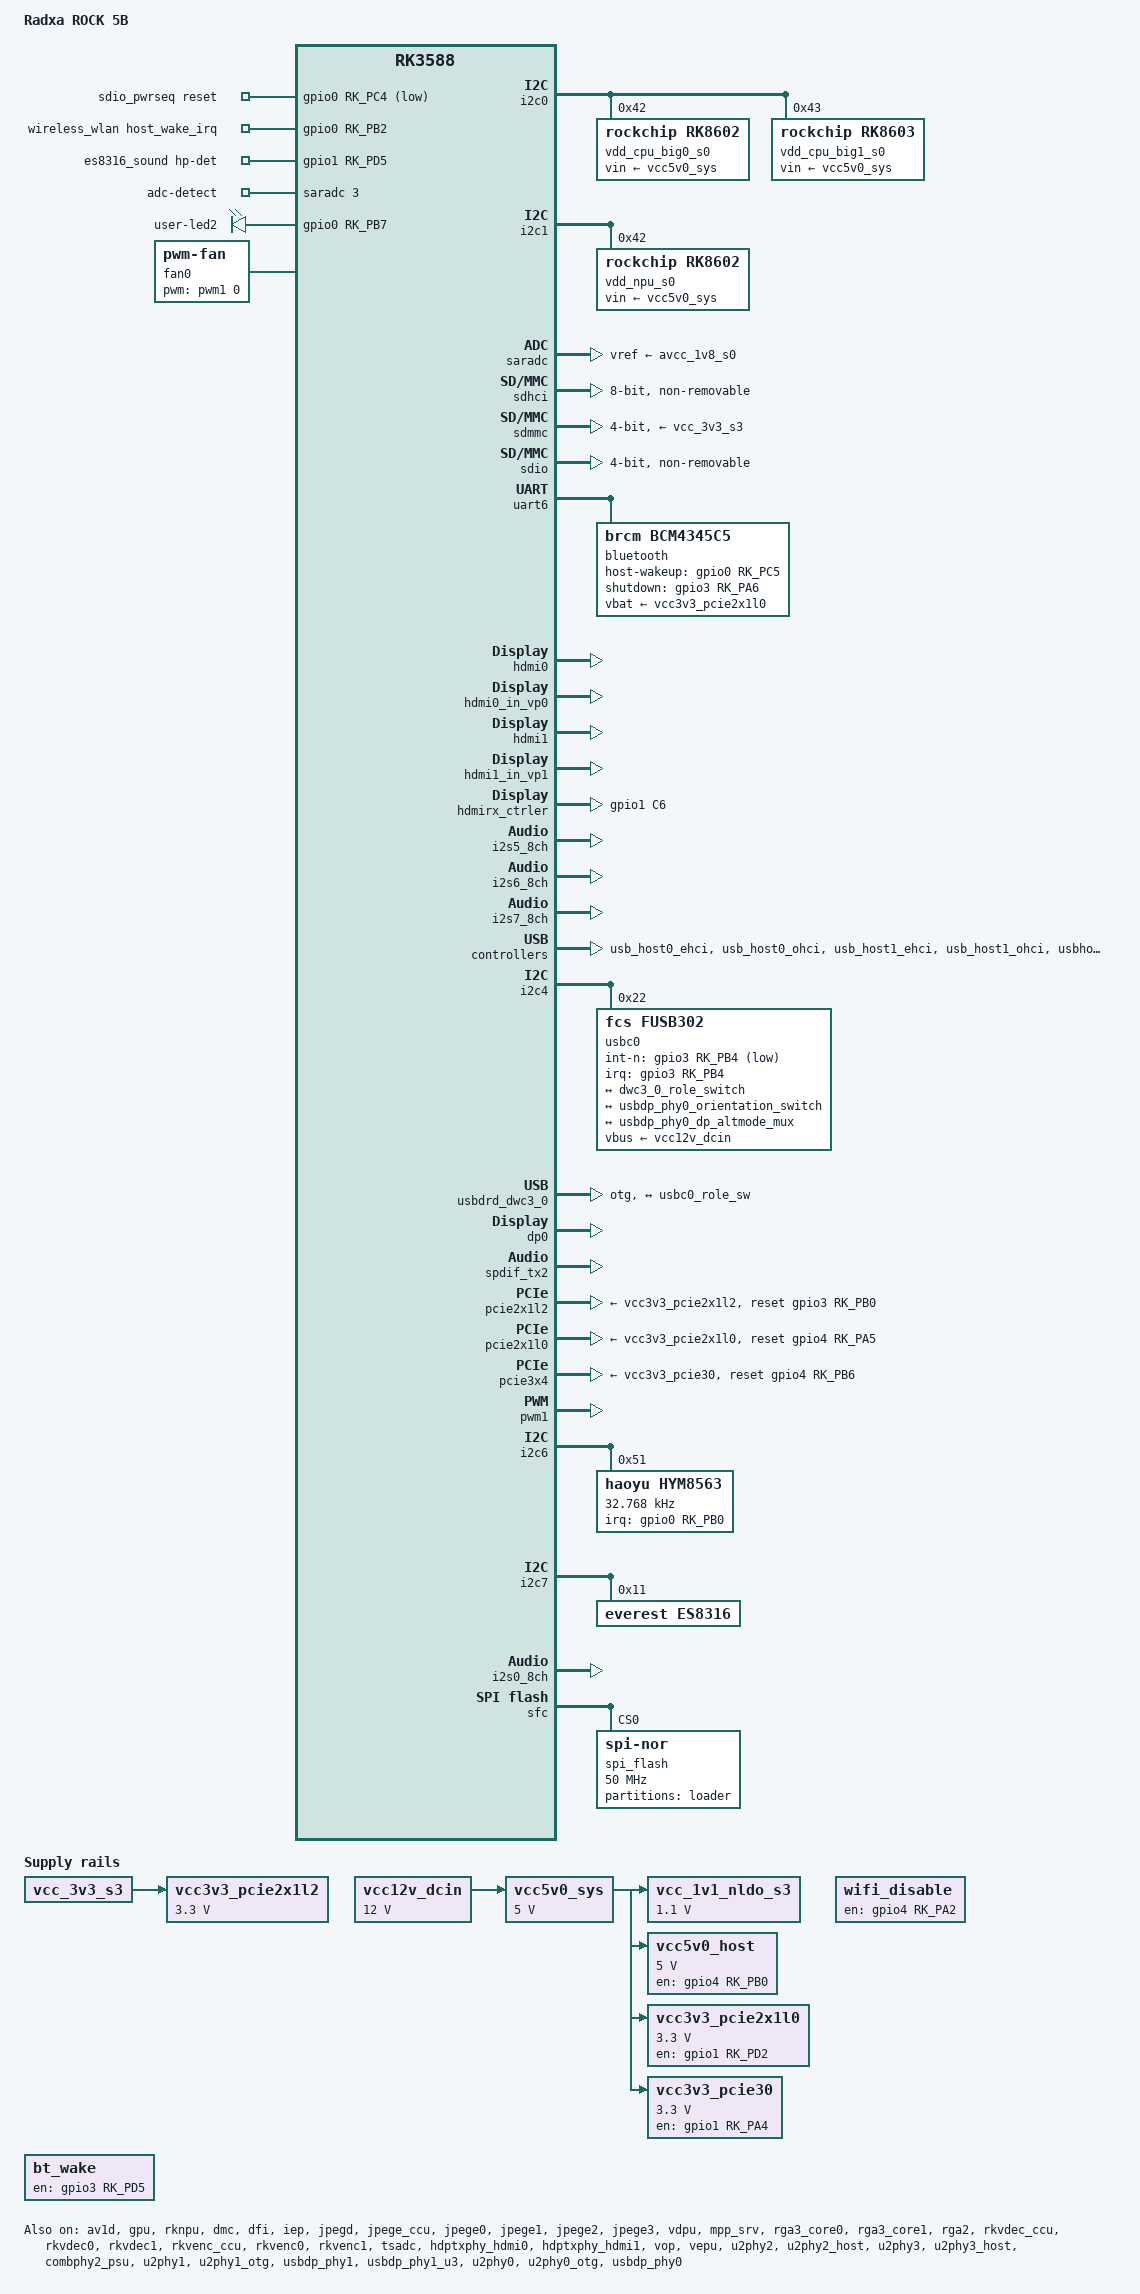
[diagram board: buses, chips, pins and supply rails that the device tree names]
// SPDX-License-Identifier: (GPL-2.0+ OR MIT)
/*
 * Copyright (c) 2022 Rockchip Electronics Co., Ltd.
 * Copyright (c) 2022 Radxa Limited
 *
 */

/dts-v1/;

#include <dt-bindings/gpio/gpio.h>
#include <dt-bindings/leds/common.h>
#include <dt-bindings/pwm/pwm.h>
#include <dt-bindings/pinctrl/rockchip.h>
#include <dt-bindings/input/rk-input.h>
#include <dt-bindings/display/drm_mipi_dsi.h>
#include <dt-bindings/display/rockchip_vop.h>
#include <dt-bindings/sensor-dev.h>
#include "dt-bindings/usb/pd.h"
#include "rk3588.dtsi"
#include "rk3588-rk806-single.dtsi"
#include "rk3588-linux.dtsi"

/ {
	model = "Radxa ROCK 5B";
	compatible = "radxa,rock-5b", "rockchip,rk3588";

	/delete-node/ chosen;

	vcc12v_dcin: vcc12v-dcin {
		compatible = "regulator-fixed";
		regulator-name = "vcc12v_dcin";
		regulator-always-on;
		regulator-boot-on;
		regulator-min-microvolt = <12000000>;
		regulator-max-microvolt = <12000000>;
	};

	vcc5v0_sys: vcc5v0-sys {
		compatible = "regulator-fixed";
		regulator-name = "vcc5v0_sys";
		regulator-always-on;
		regulator-boot-on;
		regulator-min-microvolt = <5000000>;
		regulator-max-microvolt = <5000000>;
		vin-supply = <&vcc12v_dcin>;
	};

	wifi_disable: wifi-diable-gpio-regulator {
		compatible = "regulator-fixed";
		regulator-name = "wifi_disable";
		enable-active-high;
		gpio = <&gpio4 RK_PA2 GPIO_ACTIVE_HIGH>;
		regulator-boot-on;
		regulator-always-on;
	};

	bt_wake: bt-wake-gpio-regulator {
		compatible = "regulator-fixed";
		regulator-name = "bt_wake";
		enable-active-high;
		gpio = <&gpio3 RK_PD5 GPIO_ACTIVE_HIGH>;
		regulator-boot-on;
		regulator-always-on;
	};

	sdio_pwrseq: sdio-pwrseq {
		compatible = "mmc-pwrseq-simple";
		clocks = <&hym8563>;
		clock-names = "ext_clock";
		pinctrl-names = "default";
		pinctrl-0 = <&wifi_enable_h>;
		reset-gpios = <&gpio0 RK_PC4 GPIO_ACTIVE_LOW>;
	};

	wireless_wlan: wireless-wlan {
		compatible = "wlan-platdata";
		wifi_chip_type = "ap6256";
		pinctrl-names = "default";
		pinctrl-0 = <&wifi_host_wake_irq>;
		WIFI,host_wake_irq = <&gpio0 RK_PB2 GPIO_ACTIVE_HIGH>;
		status = "okay";
	};

	vcc_1v1_nldo_s3: vcc-1v1-nldo-s3 {
		compatible = "regulator-fixed";
		regulator-name = "vcc_1v1_nldo_s3";
		regulator-always-on;
		regulator-boot-on;
		regulator-min-microvolt = <1100000>;
		regulator-max-microvolt = <1100000>;
		vin-supply = <&vcc5v0_sys>;
	};

	hdmi0_sound: hdmi0-sound {
		status = "okay";
		compatible = "rockchip,hdmi";
		rockchip,mclk-fs = <128>;
		rockchip,card-name = "rockchip-hdmi0";
		rockchip,cpu = <&i2s5_8ch>;
		rockchip,codec = <&hdmi0>;
		rockchip,jack-det;
	};

	hdmi1_sound: hdmi1-sound {
		status = "okay";
		compatible = "rockchip,hdmi";
		rockchip,mclk-fs = <128>;
		rockchip,card-name = "rockchip-hdmi1";
		rockchip,cpu = <&i2s6_8ch>;
		rockchip,codec = <&hdmi1>;
		rockchip,jack-det;
	};

	dp0_sound: dp0-sound {
		status = "okay";
		compatible = "rockchip,hdmi";
		rockchip,card-name= "rockchip,dp0";
		rockchip,mclk-fs = <512>;
		rockchip,cpu = <&spdif_tx2>;
		rockchip,codec = <&dp0 1>;
		rockchip,jack-det;
	};

	es8316_sound: es8316-sound {
		status = "okay";
		compatible = "rockchip,multicodecs-card";
		rockchip,card-name = "rockchip-es8316";
		rockchip,format = "i2s";
		rockchip,mclk-fs = <256>;
		rockchip,cpu = <&i2s0_8ch >;
		rockchip,codec = <&es8316>;
		poll-interval = <100>;
		io-channels = <&saradc 3>;
		io-channel-names = "adc-detect";
		keyup-threshold-microvolt = <1800000>;
		pinctrl-0 = <&hp_det>;
		pinctrl-names = "default";
		hp-det-gpio = <&gpio1 RK_PD5 GPIO_ACTIVE_HIGH>;
		play-pause-key {
			label = "playpause";
			linux,code = <164>;
			press-threshold-microvolt = <2000>;
		};
	};

	vcc5v0_host: vcc5v0-host-regulator {
		compatible = "regulator-fixed";
		regulator-name = "vcc5v0_host";
		regulator-boot-on;
		regulator-always-on;
		regulator-min-microvolt = <5000000>;
		regulator-max-microvolt = <5000000>;
		enable-active-high;
		gpio = <&gpio4 RK_PB0 GPIO_ACTIVE_HIGH>;
		pinctrl-names = "default";
		pinctrl-0 = <&vcc5v0_host_en>;
		vin-supply = <&vcc5v0_sys>;
	};

	vcc3v3_pcie2x1l2: vcc3v3-pcie2x1l2 {
		compatible = "regulator-fixed";
		regulator-name = "vcc3v3_pcie2x1l2";
		regulator-min-microvolt = <3300000>;
		regulator-max-microvolt = <3300000>;
		startup-delay-us = <5000>;
		vin-supply = <&vcc_3v3_s3>;
	};

	vcc3v3_pcie2x1l0: vcc3v3-pcie2x1l0 {
		compatible = "regulator-fixed";
		regulator-name = "vcc3v3_pcie2x1l0";
		regulator-min-microvolt = <3300000>;
		regulator-max-microvolt = <3300000>;
		enable-active-high;
		regulator-boot-on;
		regulator-always-on;
		gpios = <&gpio1 RK_PD2 GPIO_ACTIVE_HIGH>;
		startup-delay-us = <50000>;
		vin-supply = <&vcc5v0_sys>;
	};

	vcc3v3_pcie30: vcc3v3-pcie30 {
		compatible = "regulator-fixed";
		regulator-name = "vcc3v3_pcie30";
		regulator-min-microvolt = <3300000>;
		regulator-max-microvolt = <3300000>;
		enable-active-high;
		gpios = <&gpio1 RK_PA4 GPIO_ACTIVE_HIGH>;
		startup-delay-us = <5000>;
		vin-supply = <&vcc5v0_sys>;
	};

	gpio-leds {
		compatible = "gpio-leds";
		pinctrl-names = "default";

		user-led2 {
			gpios = <&gpio0 RK_PB7 GPIO_ACTIVE_HIGH>;
			linux,default-trigger = "heartbeat";
			default-state = "on";
		};
	};

	/* If hdmirx node is disabled, delete the reserved-memory node here. */
	reserved-memory {
		#address-cells = <2>;
		#size-cells = <2>;
		ranges;

		/* Reserve 256MB memory for hdmirx-controller@fdee0000 */
		cma {
			compatible = "shared-dma-pool";
			reusable;
			reg = <0x0 (256 * 0x100000) 0x0 (256 * 0x100000)>;
			linux,cma-default;
		};
	};

	hdmiin_dc: hdmiin-dc {
		compatible = "rockchip,dummy-codec";
		#sound-dai-cells = <0>;
	};

	hdmiin-sound {
		compatible = "simple-audio-card";
		simple-audio-card,format = "i2s";
		simple-audio-card,name = "rockchip,hdmiin";
		simple-audio-card,bitclock-master = <&dailink0_master>;
		simple-audio-card,frame-master = <&dailink0_master>;
		status = "okay";
		simple-audio-card,cpu {
			sound-dai = <&i2s7_8ch>;
		};
		dailink0_master: simple-audio-card,codec {
			sound-dai = <&hdmiin_dc>;
		};
	};

	fan0: pwm-fan {
		compatible = "pwm-fan";
		#cooling-cells = <2>;
		cooling-levels = <72 94 117 139 162 184 207 229 255>;
		pwms = <&pwm1 0 10000 0>;
	};
};

&av1d {
	status = "okay";
};

&av1d_mmu {
	status = "okay";
};

&cpu_l0 {
	cpu-supply = <&vdd_cpu_lit_s0>;
	mem-supply = <&vdd_cpu_lit_mem_s0>;
};

&cpu_b0 {
	cpu-supply = <&vdd_cpu_big0_s0>;
	mem-supply = <&vdd_cpu_big0_mem_s0>;
};

&cpu_b2 {
	cpu-supply = <&vdd_cpu_big1_s0>;
	mem-supply = <&vdd_cpu_big1_mem_s0>;
};

&gpu {
	mali-supply = <&vdd_gpu_s0>;
	mem-supply = <&vdd_gpu_mem_s0>;
	status = "okay";
};

&rknpu {
	rknpu-supply = <&vdd_npu_s0>;
	mem-supply = <&vdd_npu_mem_s0>;
	status = "okay";
};

&rknpu_mmu {
	status = "okay";
};

&i2c0 {
	status = "okay";
	pinctrl-names = "default";
	pinctrl-0 = <&i2c0m2_xfer>;

	vdd_cpu_big0_s0: vdd_cpu_big0_mem_s0: rk8602@42 {
		compatible = "rockchip,rk8602";
		reg = <0x42>;
		vin-supply = <&vcc5v0_sys>;
		regulator-compatible = "rk860x-reg";
		regulator-name = "vdd_cpu_big0_s0";
		regulator-min-microvolt = <550000>;
		regulator-max-microvolt = <1050000>;
		regulator-ramp-delay = <2300>;
		rockchip,suspend-voltage-selector = <1>;
		regulator-boot-on;
		regulator-always-on;
		regulator-state-mem {
			regulator-off-in-suspend;
		};
	};

	vdd_cpu_big1_s0: vdd_cpu_big1_mem_s0: rk8603@43 {
		compatible = "rockchip,rk8603";
		reg = <0x43>;
		vin-supply = <&vcc5v0_sys>;
		regulator-compatible = "rk860x-reg";
		regulator-name = "vdd_cpu_big1_s0";
		regulator-min-microvolt = <550000>;
		regulator-max-microvolt = <1050000>;
		regulator-ramp-delay = <2300>;
		rockchip,suspend-voltage-selector = <1>;
		regulator-boot-on;
		regulator-always-on;
		regulator-state-mem {
			regulator-off-in-suspend;
		};
	};
};

&dmc {
	center-supply = <&vdd_ddr_s0>;
	mem-supply = <&vdd_log_s0>;
	status = "okay";
};

&dfi {
	status = "okay";
};

&i2c1 {
	status = "okay";
	pinctrl-names = "default";
	pinctrl-0 = <&i2c1m2_xfer>;

	vdd_npu_s0: vdd_npu_mem_s0: rk8602@42 {
		compatible = "rockchip,rk8602";
		reg = <0x42>;
		vin-supply = <&vcc5v0_sys>;
		regulator-compatible = "rk860x-reg";
		regulator-name = "vdd_npu_s0";
		regulator-min-microvolt = <550000>;
		regulator-max-microvolt = <950000>;
		regulator-ramp-delay = <2300>;
		rockchip,suspend-voltage-selector = <1>;
		regulator-boot-on;
		regulator-always-on;
		regulator-state-mem {
			regulator-off-in-suspend;
		};
	};
};

&iep {
	status = "okay";
};

&iep_mmu {
	status = "okay";
};

&jpegd {
	status = "okay";
};

&jpegd_mmu {
	status = "okay";
};

&jpege_ccu {
	status = "okay";
};

&jpege0 {
	status = "okay";
};

&jpege0_mmu {
	status = "okay";
};

&jpege1 {
	status = "okay";
};

&jpege1_mmu {
	status = "okay";
};

&jpege2 {
	status = "okay";
};

&jpege2_mmu {
	status = "okay";
};

&jpege3 {
	status = "okay";
};

&jpege3_mmu {
	status = "okay";
};

&vdpu {
	status = "okay";
};

&vdpu_mmu {
	status = "okay";
};

&mpp_srv {
	status = "okay";
};

&rga3_core0 {
	status = "okay";
};

&rga3_0_mmu {
	status = "okay";
};

&rga3_core1 {
	status = "okay";
};

&rga3_1_mmu {
	status = "okay";
};

&rga2 {
	status = "okay";
};

&rkvdec_ccu {
	status = "okay";
};

&rkvdec0 {
	status = "okay";
};

&rkvdec0_mmu {
	status = "okay";
};

&rkvdec1 {
	status = "okay";
};

&rkvdec1_mmu {
	status = "okay";
};

&rkvenc_ccu {
	status = "okay";
};

&rkvenc0 {
	status = "okay";
};

&rkvenc0_mmu {
	status = "okay";
};

&rkvenc1 {
	status = "okay";
};

&rkvenc1_mmu {
	status = "okay";
};

&saradc {
	status = "okay";
	vref-supply = <&avcc_1v8_s0>;
};

&sdhci {
	bus-width = <8>;
	no-sdio;
	no-sd;
	non-removable;
	max-frequency = <200000000>;
	mmc-hs400-1_8v;
	//mmc-hs400-enhanced-strobe;
	status = "okay";
};

&sdmmc {
	max-frequency = <200000000>;
	no-sdio;
	no-mmc;
	bus-width = <4>;
	cap-mmc-highspeed;
	cap-sd-highspeed;
	disable-wp;
	sd-uhs-sdr104;
	vmmc-supply = <&vcc_3v3_s3>;
	vqmmc-supply = <&vccio_sd_s0>;
	pinctrl-names = "default";
	pinctrl-0 = <&sdmmc_bus4 &sdmmc_clk &sdmmc_cmd &sdmmc_det>;
	status = "okay";
};

&sdio {
	max-frequency = <150000000>;
	supports-sdio;
	bus-width = <4>;
	disable-wp;
	cap-sd-highspeed;
	cap-sdio-irq;
	keep-power-in-suspend;
	mmc-pwrseq = <&sdio_pwrseq>;
	non-removable;
	num-slots = <1>;
	pinctrl-names = "default";
	pinctrl-0 = <&sdiom0_pins>;
	sd-uhs-sdr104;
	status = "okay";
};

&soc_thermal {
	polling-delay = <1000>;
	polling-delay-passive = <2000>;
	trips {
		trip0: trip-point@0 {
			temperature = <45000>;
			hysteresis = <5000>;
			type = "active";
		};
		trip1: trip-point@1 {
			temperature = <50000>;
			hysteresis = <5000>;
			type = "active";
		};
		trip2: trip-point@2 {
			temperature = <55000>;
			hysteresis = <5000>;
			type = "active";
		};
		trip3: trip-point@3 {
			temperature = <60000>;
			hysteresis = <5000>;
			type = "active";
		};
		trip4: trip-point@4 {
			temperature = <65000>;
			hysteresis = <5000>;
			type = "active";
		};
		trip5: trip-point@5 {
			temperature = <70000>;
			hysteresis = <5000>;
			type = "active";
		};
		trip6: trip-point@6 {
			temperature = <75000>;
			hysteresis = <5000>;
			type = "active";
		};
		pcritical: trip-point@7 {
			temperature = <80000>;
			hysteresis = <1000>;
			type = "active";
		};
	};
	cooling-maps {
		map0 {
			trip = <&trip0>;
			cooling-device = <&fan0 0 1>;
			contribution = <1024>;
		};
		map1 {
			trip = <&trip1>;
			cooling-device = <&fan0 1 2>;
			contribution = <1024>;
		};
		map2 {
			trip = <&trip2>;
			cooling-device = <&fan0 2 3>;
			contribution = <1024>;
		};
		map3 {
			trip = <&trip3>;
			cooling-device = <&fan0 3 4>;
			contribution = <1024>;
		};
		map4 {
			trip = <&trip4>;
			cooling-device = <&fan0 4 5>;
			contribution = <1024>;
		};
		map5 {
			trip = <&trip5>;
			cooling-device = <&fan0 5 6>;
			contribution = <1024>;
		};
		map6 {
			trip = <&trip6>;
			cooling-device = <&fan0 6 7>;
			contribution = <1024>;
		};
		map7 {
			trip = <&pcritical>;
			cooling-device = <&fan0 7 8>;
			contribution = <1024>;
		};
	};
};

&uart6 {
	pinctrl-names = "default";
	pinctrl-0 = <&uart6m1_xfer &uart6m1_ctsn &uart6m1_rtsn>;
	status = "okay";

	bluetooth {
		compatible = "brcm,bcm4345c5";
		clocks = <&hym8563>;
		clock-names = "ext_clock";
		host-wakeup-gpios = <&gpio0 RK_PC5 GPIO_ACTIVE_HIGH>;
		shutdown-gpios = <&gpio3 RK_PA6 GPIO_ACTIVE_HIGH>;
		max-speed = <1500000>;
		pinctrl-names = "default";
		pinctrl-0 = <&bt_host_wake_l &bt_wake_l &bt_enable_h>;
		vbat-supply = <&vcc3v3_pcie2x1l0>;
	};
};

&tsadc {
	status = "okay";
};

&display_subsystem {
	clocks = <&hdptxphy_hdmi_clk0>, <&hdptxphy_hdmi_clk1>;
	clock-names = "hdmi0_phy_pll", "hdmi1_phy_pll";

	route {
		route_hdmi0: route-hdmi0 {
			status = "okay";
			logo,uboot = "logo.bmp";
			logo,kernel = "logo_kernel.bmp";
			logo,mode = "center";
			charge_logo,mode = "center";
			connect = <&vp0_out_hdmi0>;
		};

		route_hdmi1: route-hdmi1 {
			status = "okay";
			logo,uboot = "logo.bmp";
			logo,kernel = "logo_kernel.bmp";
			logo,mode = "center";
			charge_logo,mode = "center";
			connect = <&vp1_out_hdmi1>;
		};
	};
};

&hdptxphy_hdmi_clk0 {
	status = "okay";
};

&hdptxphy_hdmi_clk1 {
	status = "okay";
};

&hdmi0 {
	status = "okay";
        cec-enable = "true";
};

&hdmi0_in_vp0 {
	status = "okay";
};

&hdmi0_in_vp1 {
	status = "disabled";
};

&hdmi0_in_vp2 {
	status = "disabled";
};

&hdmi0_sound {
	status = "okay";
};

&hdmi1 {
	status = "okay";
	pinctrl-names = "default";
	pinctrl-0 = <&hdmim0_tx1_cec &hdmim0_tx1_hpd &hdmim1_tx1_scl &hdmim1_tx1_sda>;
        cec-enable = "true";
};

&hdmi1_in_vp0 {
	status = "disabled";
};

&hdmi1_in_vp1 {
	status = "okay";
};

&hdmi1_in_vp2 {
	status = "disabled";
};

&hdmi1_sound {
	status = "okay";
};

/* Should work with at least 128MB cma reserved above. */
&hdmirx_ctrler {
	status = "okay";

	/* Effective level used to trigger HPD: 0-low, 1-high */
	hpd-trigger-level = <1>;
	hdmirx-det-gpios = <&gpio1 RK_PC6 GPIO_ACTIVE_LOW>;

	pinctrl-0 = <&hdmim1_rx_cec &hdmim1_rx_hpdin &hdmim1_rx_scl &hdmim1_rx_sda &hdmirx_det>;
	pinctrl-names = "default";
};

&hdptxphy_hdmi0 {
	status = "okay";
};

&hdptxphy_hdmi1 {
	status = "okay";
};

&i2s5_8ch {
	status = "okay";
};

&i2s6_8ch {
	status = "okay";
};

&i2s7_8ch {
	status = "okay";
};

&vop {
	status = "okay";
};

&vop_mmu {
	status = "okay";
};

&vepu {
	status = "okay";
};

/* vp0 & vp1 splice for 8K output */
&vp0 {
	rockchip,plane-mask = <(1 << ROCKCHIP_VOP2_CLUSTER0 | 1 << ROCKCHIP_VOP2_ESMART0)>;
	rockchip,primary-plane = <ROCKCHIP_VOP2_CLUSTER0>;
	cursor-win-id = <ROCKCHIP_VOP2_ESMART0>;
};

&vp1 {
	rockchip,plane-mask = <(1 << ROCKCHIP_VOP2_CLUSTER1 | 1 << ROCKCHIP_VOP2_ESMART1)>;
	rockchip,primary-plane = <ROCKCHIP_VOP2_CLUSTER1>;
	cursor-win-id = <ROCKCHIP_VOP2_ESMART1>;
};

&vp2 {
	rockchip,plane-mask = <(1 << ROCKCHIP_VOP2_CLUSTER2 | 1 << ROCKCHIP_VOP2_ESMART2)>;
	rockchip,primary-plane = <ROCKCHIP_VOP2_CLUSTER2>;
	cursor-win-id = <ROCKCHIP_VOP2_ESMART2>;
};

&vp3 {
	rockchip,plane-mask = <(1 << ROCKCHIP_VOP2_CLUSTER3 | 1 << ROCKCHIP_VOP2_ESMART3)>;
	rockchip,primary-plane = <ROCKCHIP_VOP2_CLUSTER3>;
	cursor-win-id = <ROCKCHIP_VOP2_ESMART3>;
};

&u2phy2 {
	status = "okay";
};

&u2phy2_host {
	status = "okay";
};

&u2phy3 {
	status = "okay";
};

&u2phy3_host {
	status = "okay";
};

&usb_host0_ehci {
	status = "okay";
};

&usb_host0_ohci {
	status = "okay";
};

&usb_host1_ehci {
	status = "okay";
};

&usb_host1_ohci {
	status = "okay";
};

&usbhost3_0 {
	status = "okay";
};

&usbhost_dwc3_0 {
	status = "okay";
};

&combphy2_psu {
	status = "okay";
};

&u2phy1 {
	status = "okay";
};

&u2phy1_otg {
	status = "okay";
};

&usbdrd3_1{
	status = "okay";
};

&usbdrd_dwc3_1{
	status = "okay";
};

&usbdp_phy1 {
	status = "okay";
};

&usbdp_phy1_u3 {
	status = "okay";
};

&i2c4 {
	status = "okay";
	pinctrl-names = "default";
	pinctrl-0 = <&i2c4m1_xfer>;

	usbc0: fusb302@22 {
		compatible = "fcs,fusb302";
		reg = <0x22>;
		interrupt-parent = <&gpio3>;
		interrupts = <RK_PB4 IRQ_TYPE_LEVEL_LOW>;
		int-n-gpios = <&gpio3 RK_PB4 GPIO_ACTIVE_LOW>;
		pinctrl-names = "default";
		pinctrl-0 = <&usbc0_int>;
		vbus-supply = <&vcc12v_dcin>;
		status = "okay";

		ports {
			#address-cells = <1>;
			#size-cells = <0>;

			port@0 {
				reg = <0>;
				usbc0_role_sw: endpoint@0 {
					remote-endpoint = <&dwc3_0_role_switch>;
				};
			};
		};

		usb_con: connector {
			compatible = "usb-c-connector";
			label = "USB-C";
			data-role = "dual";
			power-role = "sink";
			try-power-role = "sink";
			op-sink-microwatt = <1000000>;
			sink-pdos =
				<PDO_FIXED(5000, 3000, PDO_FIXED_USB_COMM)
				 PDO_VAR(5000, 20000, 5000)>;

			altmodes {
				#address-cells = <1>;
				#size-cells = <0>;

				altmode@0 {
					reg = <0>;
					svid = <0xff01>;
					vdo = <0xffffffff>;
				};
			};

			ports {
				#address-cells = <1>;
				#size-cells = <0>;

				port@0 {
					reg = <0>;
					usbc0_orien_sw: endpoint {
						remote-endpoint = <&usbdp_phy0_orientation_switch>;
					};
				};

				port@1 {
					reg = <1>;
					dp_altmode_mux: endpoint {
						remote-endpoint = <&usbdp_phy0_dp_altmode_mux>;
					};
				};
			};
		};
	};
};

&u2phy0 {
	status = "okay";
};

&u2phy0_otg {
	rockchip,typec-vbus-det;
	status = "okay";
};

&usbdrd3_0 {
	status = "okay";
};

&usbdrd_dwc3_0 {
	status = "okay";
	dr_mode = "otg";
	usb-role-switch;
	port {
		#address-cells = <1>;
		#size-cells = <0>;
		dwc3_0_role_switch: endpoint@0 {
			reg = <0>;
			remote-endpoint = <&usbc0_role_sw>;
		};
	};
};

&usbdp_phy0 {
	status = "okay";
	orientation-switch;
	svid = <0xff01>;
	sbu1-dc-gpios = <&gpio4 RK_PA6 GPIO_ACTIVE_HIGH>;
	sbu2-dc-gpios = <&gpio4 RK_PA7 GPIO_ACTIVE_HIGH>;

	port {
		#address-cells = <1>;
		#size-cells = <0>;
		usbdp_phy0_orientation_switch: endpoint@0 {
			reg = <0>;
			remote-endpoint = <&usbc0_orien_sw>;
		};

		usbdp_phy0_dp_altmode_mux: endpoint@1 {
			reg = <1>;
			remote-endpoint = <&dp_altmode_mux>;
		};
	};
};

&usbdp_phy0_u3 {
	status = "okay";
};

&usbdp_phy0_dp {
	status = "okay";
};

&dp0 {
	status = "okay";
};

&dp0_in_vp2 {
	status = "okay";
};

&route_dp0 {
	status = "okay";
	connect = <&vp2_out_dp0>;
};

&spdif_tx2 {
	status = "okay";
};

&combphy0_ps {
	status = "okay";
};

&pcie2x1l2 {
	reset-gpios = <&gpio3 RK_PB0 GPIO_ACTIVE_HIGH>;
	vpcie3v3-supply = <&vcc3v3_pcie2x1l2>;
	status = "okay";
};

&pcie2x1l0 {
	reset-gpios = <&gpio4 RK_PA5 GPIO_ACTIVE_HIGH>;
	vpcie3v3-supply = <&vcc3v3_pcie2x1l0>;
	status = "okay";
};

&combphy1_ps {
	status = "okay";
};

&pcie30phy {
	status = "okay";
};

&pcie3x4 {
	reset-gpios = <&gpio4 RK_PB6 GPIO_ACTIVE_HIGH>;
	vpcie3v3-supply = <&vcc3v3_pcie30>;
	status = "okay";
};

&pwm1 {
	pinctrl-names = "active";
	pinctrl-0 = <&pwm1m0_pins>;
	status = "okay";
};

&i2c6 {
	status = "okay";

	hym8563: hym8563@51 {
		compatible = "haoyu,hym8563";
		reg = <0x51>;
		#clock-cells = <0>;
		clock-frequency = <32768>;
		clock-output-names = "hym8563";
		pinctrl-names = "default";
		pinctrl-0 = <&rtc_int>;
		interrupt-parent = <&gpio0>;
		interrupts = <RK_PB0 IRQ_TYPE_LEVEL_LOW>;
	};
};

&i2c7 {
	status = "okay";

	es8316: es8316@11 {
		compatible = "everest,es8316";
		reg = <0x11>;
		clocks = <&mclkout_i2s0>;
		clock-names = "mclk";
		pinctrl-names = "default";
		pinctrl-0 = <&i2s0_mclk>;
		#sound-dai-cells = <0>;
	};
};

&i2s0_8ch {
	status = "okay";
	rockchip,playback-channels = <2>;
	rockchip,capture-channels = <2>;
	#sound-dai-cells = <0>;
	pinctrl-names = "default";
	pinctrl-0 = <&i2s0_lrck
			 &i2s0_sclk
			 &i2s0_sdi0
			 &i2s0_sdo0>;
};

&sfc {
	status = "okay";
	max-freq = <50000000>;
	#address-cells = <1>;
	#size-cells = <0>;
	pinctrl-names = "default";
	pinctrl-0 = <&fspim2_pins>;

	spi_flash: spi-flash@0 {
		#address-cells = <1>;
		#size-cells = <0>;
		compatible = "jedec,spi-nor";
		reg = <0x0>;
		spi-max-frequency = <50000000>;
		spi-tx-bus-width = <1>;
		spi-rx-bus-width = <4>;
		status = "okay";

		partitions {
			compatible = "fixed-partitions";
			#address-cells = <1>;
			#size-cells = <1>;

			loader@0 {
				label = "loader";
				reg = <0x0 0x1000000>;
			};
		};
	};
};

&rockchip_suspend {
	compatible = "rockchip,pm-rk3588";
	status = "okay";
	rockchip,sleep-debug-en = <1>;
	rockchip,sleep-mode-config = <
		(0
		| RKPM_SLP_ARMOFF_DDRPD
		)
	>;
	rockchip,wakeup-config = <
		(0
		| RKPM_GPIO_WKUP_EN
		| RKPM_USB_WKUP_EN
		)
	>;
};

&avdd_0v75_s0 {
	regulator-state-mem {
		regulator-on-in-suspend;
		regulator-suspend-microvolt = <837500>;
	};
};

&avcc_1v8_s0 {
	regulator-state-mem {
		regulator-on-in-suspend;
		regulator-suspend-microvolt = <1800000>;
	};
};

&vcc_1v8_s0 {
	regulator-state-mem {
		regulator-on-in-suspend;
		regulator-suspend-microvolt = <1800000>;
	};
};

&vcc_3v3_s0 {
	regulator-state-mem {
		regulator-on-in-suspend;
		regulator-suspend-microvolt = <3300000>;
	};
};

&vdd_log_s0 {
	regulator-state-mem {
		regulator-on-in-suspend;
		regulator-suspend-microvolt = <750000>;
	};
};

&vdd_ddr_pll_s0 {
	regulator-state-mem {
		regulator-on-in-suspend;
		regulator-suspend-microvolt = <850000>;
	};
};

&pinctrl {
	usb {
		vcc5v0_host_en: vcc5v0-host-en {
			rockchip,pins = <4 RK_PB0 RK_FUNC_GPIO &pcfg_pull_none>;
		};

		vcc5v0_otg_en: vcc5v0-otg-en {
			rockchip,pins = <2 RK_PC5 RK_FUNC_GPIO &pcfg_pull_none>;
		};
	};

	usb-typec {
		usbc0_int: usbc0-int {
			rockchip,pins = <3 RK_PB4 RK_FUNC_GPIO &pcfg_pull_up>;
		};
	};

	hym8563 {
		rtc_int: rtc-int {
			rockchip,pins = <0 RK_PB0 RK_FUNC_GPIO &pcfg_pull_none>;
		};
	};

	headphone {
		hp_det: hp-det {
			rockchip,pins = <1 RK_PD5 RK_FUNC_GPIO &pcfg_pull_up>;
		};
	};

	hdmirx {
		hdmirx_det: hdmirx-det {
			rockchip,pins = <1 RK_PC6 RK_FUNC_GPIO &pcfg_pull_none>;
		};
	};

	sdio-pwrseq {
		wifi_enable_h: wifi-enable-h {
			rockchip,pins = <0 RK_PC4 RK_FUNC_GPIO &pcfg_pull_none>;
		};
	};

	wireless-wlan {
		wifi_host_wake_irq: wifi-host-wake-irq {
			rockchip,pins = <0 RK_PB2 RK_FUNC_GPIO &pcfg_pull_down>;
		};
	};

	bt {
		bt_enable_h: bt-enable-h {
			rockchip,pins = <3 RK_PA6 RK_FUNC_GPIO &pcfg_pull_none>;
		};

		bt_host_wake_l: bt-host-wake-l {
			rockchip,pins = <0 RK_PC5 RK_FUNC_GPIO &pcfg_pull_none>;
		};

		bt_wake_l: bt-wake-l {
			rockchip,pins = <3 RK_PD5 RK_FUNC_GPIO &pcfg_pull_none>;
		};
	};
};

&gpio0 {
	gpio-line-names =
		/* GPIO0_A0-A3 */
		"", "", "", "",
		/* GPIO0_A4-A7 */
		"", "", "", "",

		/* GPIO0_B0-B3 */
		"", "", "", "",
		/* GPIO0_B4-B7 */
		"", "PIN_8", "PIN_10", "",

		/* GPIO0_C0-C3 */
		"", "", "", "",
		/* GPIO0_C4-C7 */
		"", "", "", "",

		/* GPIO0_D0-D3 */
		"", "", "", "",
		/* GPIO0_D4-D7 */
		"", "", "", "";
};

&gpio1 {
	gpio-line-names =
		/* GPIO1_A0-A3 */
		"", "", "", "",
		/* GPIO1_A4-A7 */
		"", "", "", "",

		/* GPIO1_B0-B3 */
		"", "PIN_21", "PIN_19", "PIN_23",
		/* GPIO1_B4-B7 */
		"PIN_24", "PIN_26", "", "PIN_31",

		/* GPIO1_C0-C3 */
		"", "", "", "",
		/* GPIO1_C4-C7 */
		"", "", "", "",

		/* GPIO1_D0-D3 */
		"", "", "", "",
		/* GPIO1_D4-D7 */
		"", "", "", "PIN_29";
};

&gpio2 {
	gpio-line-names =
		/* GPIO2_A0-A3 */
		"", "", "", "",
		/* GPIO2_A4-A7 */
		"", "", "", "",

		/* GPIO2_B0-B3 */
		"", "", "", "",
		/* GPIO2_B4-B7 */
		"", "", "", "",

		/* GPIO2_C0-C3 */
		"", "", "", "",
		/* GPIO2_C4-C7 */
		"", "", "", "",

		/* GPIO2_D0-D3 */
		"", "", "", "",
		/* GPIO2_D4-D7 */
		"", "", "", "";
};

&gpio3 {
	gpio-line-names =
		/* GPIO3_A0-A3 */
		"", "", "", "",
		/* GPIO3_A4-A7 */
		"PIN_16", "", "", "PIN_33",

		/* GPIO3_B0-B3 */
		"", "PIN_36", "PIN_38", "PIN_40",
		/* GPIO3_B4-B7 */
		"", "PIN_12", "PIN_35", "PIN_13",

		/* GPIO3_C0-C3 */
		"PIN_15", "PIN_11", "PIN_32", "PIN_7",
		/* GPIO3_C4-C7 */
		"", "", "", "",

		/* GPIO3_D0-D3 */
		"", "", "", "",
		/* GPIO3_D4-D7 */
		"", "", "", "";
};

&gpio4 {
	gpio-line-names =
		/* GPIO4_A0-A3 */
		"", "", "", "",
		/* GPIO4_A4-A7 */
		"", "", "", "",

		/* GPIO4_B0-B3 */
		"", "", "PIN_5", "PIN_3",
		/* GPIO4_B4-B7 */
		"", "", "", "",

		/* GPIO4_C0-C3 */
		"", "", "", "",
		/* GPIO4_C4-C7 */
		"PIN_18", "PIN_28", "PIN_27", "",

		/* GPIO4_D0-D3 */
		"", "", "", "",
		/* GPIO4_D4-D7 */
		"", "", "", "";
};
